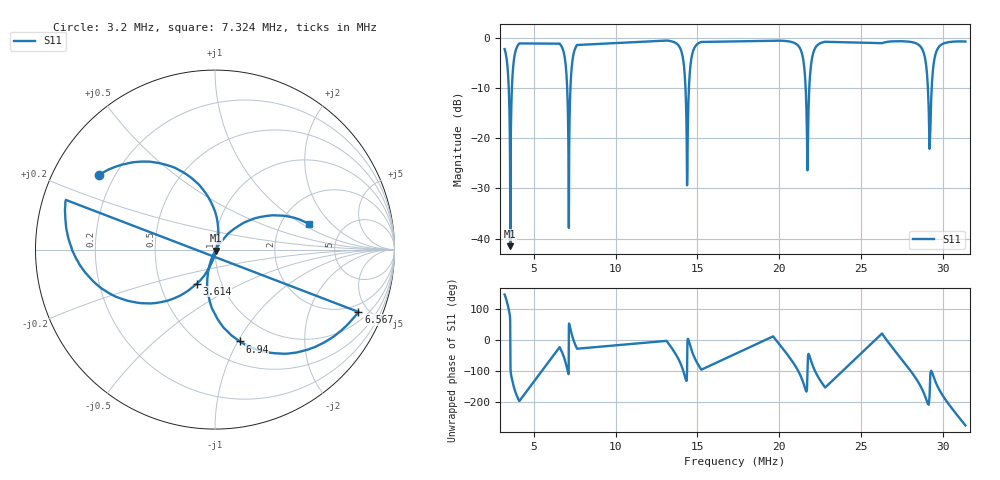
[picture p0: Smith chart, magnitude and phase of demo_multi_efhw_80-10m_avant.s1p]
! EFHW 80-10 m, harmoniques trop hautes sur les bandes hautes
! Fichier de demonstration simule - Analyseur ROS NanoVNA F4CVQ
# HZ S RI R 50
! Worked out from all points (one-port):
!   505 points, 3.2 MHz to 31.4 MHz, reference 50 ohm
!   lowest |S11| = -41.5 dB at 3.551 MHz (marker M1), VSWR 1.02, Z = 50.6 - j0.553 ohm
!   |S11| at or under -10 dB: 7.029 MHz to 7.229 MHz (200.3 kHz wide, 2.81 % of centre); 14.27 MHz to 14.48 MHz (212.4 kHz wide, 1.48 % of centre); 21.62 MHz to 21.85 MHz (224.6 kHz wide, 1.03 % of centre) (the widest 3 of 5)
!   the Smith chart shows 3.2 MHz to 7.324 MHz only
!   S11 on the Smith chart (normalised r, x): 3.2 MHz: 0.14, +0.29; 3.614 MHz: 0.76, -0.30; 6.567 MHz: 1.50, -4.31; 6.94 MHz: 0.72, -1.02; 7.324 MHz: 2.83, +1.16
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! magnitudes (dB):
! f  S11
! 3.2 MHz  -2.3
! 3.452 MHz  -9.9
! 3.551 MHz  -41.5
! 3.614 MHz  -13.3
! 4.073 MHz  -1.2
! 6.567 MHz  -1.2
! 6.727 MHz  -2.0
! 6.94 MHz  -5.5
! 7.132 MHz  -37.9
! 7.196 MHz  -13.2
! 7.324 MHz  -5.3
! 13.11 MHz  -0.6
! 13.79 MHz  -1.4
! 14.2 MHz  -6.3
! 14.37 MHz  -29.4
! 14.56 MHz  -6.0
! 14.9 MHz  -1.6
! 19.63 MHz  -0.6
! 20.84 MHz  -0.9
! 21.48 MHz  -4.4
! 21.73 MHz  -26.4
! 22.28 MHz  -1.7
! 26.3 MHz  -1.1
! 27.88 MHz  -0.8
! 28.85 MHz  -3.0
! 29.21 MHz  -22.1
! 29.67 MHz  -2.4
! 31.4 MHz  -0.8
